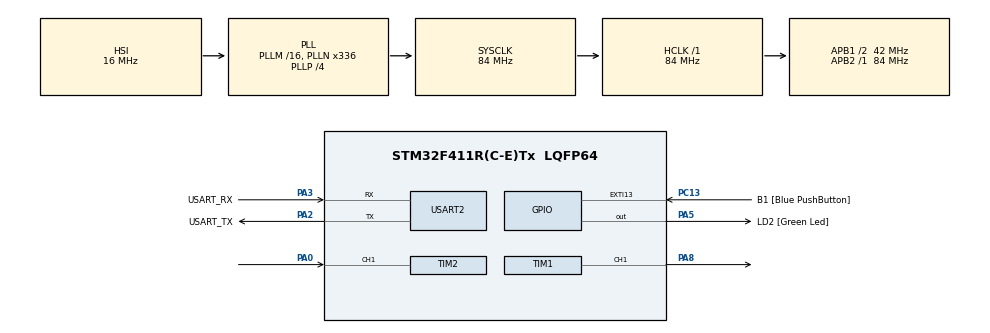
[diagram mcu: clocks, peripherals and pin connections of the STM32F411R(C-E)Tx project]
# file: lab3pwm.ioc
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Dma.Request0=TIM2_CH1
Dma.TIM2_CH1.0.Direction=DMA_PERIPH_TO_MEMORY
Dma.TIM2_CH1.0.FIFOMode=DMA_FIFOMODE_DISABLE
Dma.TIM2_CH1.0.Instance=DMA1_Stream5
Dma.TIM2_CH1.0.MemDataAlignment=DMA_MDATAALIGN_WORD
Dma.TIM2_CH1.0.MemInc=DMA_MINC_ENABLE
Dma.TIM2_CH1.0.Mode=DMA_CIRCULAR
Dma.TIM2_CH1.0.PeriphDataAlignment=DMA_PDATAALIGN_WORD
Dma.TIM2_CH1.0.PeriphInc=DMA_PINC_DISABLE
Dma.TIM2_CH1.0.Priority=DMA_PRIORITY_LOW
Mcu.Family=STM32F4
Mcu.Name=STM32F411R(C-E)Tx
Mcu.Package=LQFP64
NVIC.DMA1_Stream5_IRQn=true\:0\:0\:false\:false\:true\:false\:true\:true
NVIC.PriorityGroup=NVIC_PRIORITYGROUP_0
PA0-WKUP.Signal=S_TIM2_CH1_ETR
PA13.GPIO_Label=TMS
PA13.Mode=Serial_Wire
PA13.Signal=SYS_JTMS-SWDIO
PA14.GPIO_Label=TCK
PA14.Mode=Serial_Wire
PA14.Signal=SYS_JTCK-SWCLK
PA2.GPIO_Label=USART_TX
PA2.Mode=Asynchronous
PA2.Signal=USART2_TX
PA3.GPIO_Label=USART_RX
PA3.Mode=Asynchronous
PA3.Signal=USART2_RX
PA5.GPIO_Label=LD2 [Green Led]
PA5.Signal=GPIO_Output
PA8.Signal=S_TIM1_CH1
PB3.GPIO_Label=SWO
PB3.Signal=SYS_JTDO-SWO
PC13-ANTI_TAMP.GPIO_Label=B1 [Blue PushButton]
PC13-ANTI_TAMP.GPIO_ModeDefaultEXTI=GPIO_MODE_IT_FALLING
PC13-ANTI_TAMP.Signal=GPXTI13
PC14-OSC32_IN.Mode=LSE-External-Oscillator
PC14-OSC32_IN.Signal=RCC_OSC32_IN
PC15-OSC32_OUT.Mode=LSE-External-Oscillator
PC15-OSC32_OUT.Signal=RCC_OSC32_OUT
PH0\ -\ OSC_IN.Mode=HSE-External-Clock-Source
PH0\ -\ OSC_IN.Signal=RCC_OSC_IN
PH1\ -\ OSC_OUT.Mode=HSE-External-Clock-Source
PH1\ -\ OSC_OUT.Signal=RCC_OSC_OUT
ProjectManager.HeapSize=0x200
ProjectManager.StackSize=0x400
ProjectManager.TargetToolchain=STM32CubeIDE
RCC.48MHZClocksFreq_Value=84000000
RCC.AHBFreq_Value=84000000
RCC.APB1CLKDivider=RCC_HCLK_DIV2
RCC.APB1Freq_Value=42000000
RCC.APB1TimFreq_Value=84000000
RCC.APB2Freq_Value=84000000
RCC.APB2TimFreq_Value=84000000
RCC.CortexFreq_Value=84000000
RCC.FLatency-AdvancedSettings=FLASH_LATENCY_2
RCC.HCLKFreq_Value=84000000
RCC.HSE_VALUE=8000000
RCC.HSI_VALUE=16000000
RCC.PLLN=336
RCC.PLLP=RCC_PLLP_DIV4
RCC.SYSCLKFreq_VALUE=84000000
RCC.SYSCLKSource=RCC_SYSCLKSOURCE_PLLCLK
RCC.VCOOutputFreq_Value=336000000
SH.S_TIM1_CH1.0=TIM1_CH1,PWM Generation1 CH1
SH.S_TIM2_CH1_ETR.0=TIM2_CH1,Input_Capture1_from_TI1
TIM1.Channel-PWM\ Generation1\ CH1=TIM_CHANNEL_1
TIM1.Period=1000
TIM1.Prescaler=83
TIM1.Pulse-PWM\ Generation1\ CH1=500
TIM2.Channel-Input_Capture1_from_TI1=TIM_CHANNEL_1
TIM2.Prescaler=83
USART2.VirtualMode=VM_ASYNC
VP_TIM1_VS_ClockSourceINT.Mode=Internal
VP_TIM2_VS_ClockSourceINT.Mode=Internal
board=NUCLEO-F411RE

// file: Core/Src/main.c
/* USER CODE BEGIN Header */
/**
  ******************************************************************************
  * @file           : main.c
  * @brief          : Main program body
  ******************************************************************************
  * @attention
  *
  * Copyright (c) 2023 STMicroelectronics.
  * All rights reserved.
  *
  * This software is licensed under terms that can be found in the LICENSE file
  * in the root directory of this software component.
  * If no LICENSE file comes with this software, it is provided AS-IS.
  *
  ******************************************************************************
  */
/* USER CODE END Header */
#include "main.h"

/* USER CODE BEGIN Includes */
#define IC_BUFFER_SIZE 20
/* USER CODE END Includes */

TIM_HandleTypeDef htim1;
TIM_HandleTypeDef htim2;
DMA_HandleTypeDef hdma_tim2_ch1;

UART_HandleTypeDef huart2;

/* USER CODE BEGIN PV */
uint32_t InputCaptureBuffer[IC_BUFFER_SIZE];
float averageRisingedgePeriod ;
uint32_t duty ;
uint32_t MotorSetDuty ;
uint32_t MotorReadRPM ;
uint32_t MotorSetRPM ;
uint32_t MotorControlEnable ;
/* USER CODE END PV */

void SystemClock_Config(void);
static void MX_GPIO_Init(void);
static void MX_DMA_Init(void);
static void MX_USART2_UART_Init(void);
static void MX_TIM2_Init(void);
static void MX_TIM1_Init(void);
/* USER CODE BEGIN PFP */
float IC_Calc_Period();
/* USER CODE END PFP */

int main(void)
{

  /* MCU Configuration--------------------------------------------------------*/

  /* Reset of all peripherals, Initializes the Flash interface and the Systick. */
  HAL_Init();

  /* Configure the system clock */
  SystemClock_Config();

  /* Initialize all configured peripherals */
  MX_GPIO_Init();
  MX_DMA_Init();
  MX_USART2_UART_Init();
  MX_TIM2_Init();
  MX_TIM1_Init();
  /* USER CODE BEGIN 2 */
HAL_TIM_Base_Start(&htim2);
HAL_TIM_IC_Start_DMA(&htim2,TIM_CHANNEL_1,InputCaptureBuffer,IC_BUFFER_SIZE);

HAL_TIM_Base_Start(&htim1);
HAL_TIM_PWM_Start(&htim1,TIM_CHANNEL_1);
  /* USER CODE END 2 */

  /* Infinite loop */
  while (1)
  {

    /* USER CODE BEGIN 3 */

	  static uint32_t timestamp = 0;
	  if(HAL_GetTick()>= timestamp )
	  {

		  averageRisingedgePeriod = IC_Calc_Period();
		  if(MotorControlEnable == 0)
		  {
		      duty = MotorSetDuty ;
		  }
		  __HAL_TIM_SET_COMPARE(&htim1,TIM_CHANNEL_1,duty*10);
          MotorReadRPM = 60 / (12*64*0.000001*averageRisingedgePeriod);
          timestamp =HAL_GetTick()+500;
  if(MotorControlEnable == 1)
  {
	  if(MotorSetRPM == 0)
	  {
		  duty = 0 ;
		  __HAL_TIM_SET_COMPARE(&htim1,TIM_CHANNEL_1,duty*10);
	  }
	  else if(MotorSetRPM > MotorReadRPM)
	  {
		  duty+=5 ;
		  __HAL_TIM_SET_COMPARE(&htim1,TIM_CHANNEL_1,duty*10);
		  if(duty > 100)
		  {
			  duty = 100 ;
			  __HAL_TIM_SET_COMPARE(&htim1,TIM_CHANNEL_1,duty*10);
		  }

	  }
	  else if(MotorSetRPM < MotorReadRPM)
	  {
		  duty-=5;
		  __HAL_TIM_SET_COMPARE(&htim1,TIM_CHANNEL_1,duty*10);
		  if(duty < 5)
		  {
			  duty = 5;
			  __HAL_TIM_SET_COMPARE(&htim1,TIM_CHANNEL_1,duty*10);
		  }

	  }
  }
	  }
  }
  /* USER CODE END 3 */
}

void SystemClock_Config(void)
{
  RCC_OscInitTypeDef RCC_OscInitStruct = {0};
  RCC_ClkInitTypeDef RCC_ClkInitStruct = {0};

  /** Configure the main internal regulator output voltage
  */
  __HAL_RCC_PWR_CLK_ENABLE();
  __HAL_PWR_VOLTAGESCALING_CONFIG(PWR_REGULATOR_VOLTAGE_SCALE1);

  /** Initializes the RCC Oscillators according to the specified parameters
  * in the RCC_OscInitTypeDef structure.
  */
  RCC_OscInitStruct.OscillatorType = RCC_OSCILLATORTYPE_HSI;
  RCC_OscInitStruct.HSIState = RCC_HSI_ON;
  RCC_OscInitStruct.HSICalibrationValue = RCC_HSICALIBRATION_DEFAULT;
  RCC_OscInitStruct.PLL.PLLState = RCC_PLL_ON;
  RCC_OscInitStruct.PLL.PLLSource = RCC_PLLSOURCE_HSI;
  RCC_OscInitStruct.PLL.PLLM = 16;
  RCC_OscInitStruct.PLL.PLLN = 336;
  RCC_OscInitStruct.PLL.PLLP = RCC_PLLP_DIV4;
  RCC_OscInitStruct.PLL.PLLQ = 4;
  if (HAL_RCC_OscConfig(&RCC_OscInitStruct) != HAL_OK)
  {
    Error_Handler();
  }

  /** Initializes the CPU, AHB and APB buses clocks
  */
  RCC_ClkInitStruct.ClockType = RCC_CLOCKTYPE_HCLK|RCC_CLOCKTYPE_SYSCLK
                              |RCC_CLOCKTYPE_PCLK1|RCC_CLOCKTYPE_PCLK2;
  RCC_ClkInitStruct.SYSCLKSource = RCC_SYSCLKSOURCE_PLLCLK;
  RCC_ClkInitStruct.AHBCLKDivider = RCC_SYSCLK_DIV1;
  RCC_ClkInitStruct.APB1CLKDivider = RCC_HCLK_DIV2;
  RCC_ClkInitStruct.APB2CLKDivider = RCC_HCLK_DIV1;

  if (HAL_RCC_ClockConfig(&RCC_ClkInitStruct, FLASH_LATENCY_2) != HAL_OK)
  {
    Error_Handler();
  }
}

static void MX_TIM1_Init(void)
{

  TIM_ClockConfigTypeDef sClockSourceConfig = {0};
  TIM_MasterConfigTypeDef sMasterConfig = {0};
  TIM_OC_InitTypeDef sConfigOC = {0};
  TIM_BreakDeadTimeConfigTypeDef sBreakDeadTimeConfig = {0};

  htim1.Instance = TIM1;
  htim1.Init.Prescaler = 83;
  htim1.Init.CounterMode = TIM_COUNTERMODE_UP;
  htim1.Init.Period = 1000;
  htim1.Init.ClockDivision = TIM_CLOCKDIVISION_DIV1;
  htim1.Init.RepetitionCounter = 0;
  htim1.Init.AutoReloadPreload = TIM_AUTORELOAD_PRELOAD_DISABLE;
  if (HAL_TIM_Base_Init(&htim1) != HAL_OK)
  {
    Error_Handler();
  }
  sClockSourceConfig.ClockSource = TIM_CLOCKSOURCE_INTERNAL;
  if (HAL_TIM_ConfigClockSource(&htim1, &sClockSourceConfig) != HAL_OK)
  {
    Error_Handler();
  }
  if (HAL_TIM_PWM_Init(&htim1) != HAL_OK)
  {
    Error_Handler();
  }
  sMasterConfig.MasterOutputTrigger = TIM_TRGO_RESET;
  sMasterConfig.MasterSlaveMode = TIM_MASTERSLAVEMODE_DISABLE;
  if (HAL_TIMEx_MasterConfigSynchronization(&htim1, &sMasterConfig) != HAL_OK)
  {
    Error_Handler();
  }
  sConfigOC.OCMode = TIM_OCMODE_PWM1;
  sConfigOC.Pulse = 500;
  sConfigOC.OCPolarity = TIM_OCPOLARITY_HIGH;
  sConfigOC.OCNPolarity = TIM_OCNPOLARITY_HIGH;
  sConfigOC.OCFastMode = TIM_OCFAST_DISABLE;
  sConfigOC.OCIdleState = TIM_OCIDLESTATE_RESET;
  sConfigOC.OCNIdleState = TIM_OCNIDLESTATE_RESET;
  if (HAL_TIM_PWM_ConfigChannel(&htim1, &sConfigOC, TIM_CHANNEL_1) != HAL_OK)
  {
    Error_Handler();
  }
  sBreakDeadTimeConfig.OffStateRunMode = TIM_OSSR_DISABLE;
  sBreakDeadTimeConfig.OffStateIDLEMode = TIM_OSSI_DISABLE;
  sBreakDeadTimeConfig.LockLevel = TIM_LOCKLEVEL_OFF;
  sBreakDeadTimeConfig.DeadTime = 0;
  sBreakDeadTimeConfig.BreakState = TIM_BREAK_DISABLE;
  sBreakDeadTimeConfig.BreakPolarity = TIM_BREAKPOLARITY_HIGH;
  sBreakDeadTimeConfig.AutomaticOutput = TIM_AUTOMATICOUTPUT_DISABLE;
  if (HAL_TIMEx_ConfigBreakDeadTime(&htim1, &sBreakDeadTimeConfig) != HAL_OK)
  {
    Error_Handler();
  }
  HAL_TIM_MspPostInit(&htim1);

}

static void MX_TIM2_Init(void)
{

  TIM_ClockConfigTypeDef sClockSourceConfig = {0};
  TIM_MasterConfigTypeDef sMasterConfig = {0};
  TIM_IC_InitTypeDef sConfigIC = {0};

  htim2.Instance = TIM2;
  htim2.Init.Prescaler = 83;
  htim2.Init.CounterMode = TIM_COUNTERMODE_UP;
  htim2.Init.Period = 4294967295;
  htim2.Init.ClockDivision = TIM_CLOCKDIVISION_DIV1;
  htim2.Init.AutoReloadPreload = TIM_AUTORELOAD_PRELOAD_DISABLE;
  if (HAL_TIM_Base_Init(&htim2) != HAL_OK)
  {
    Error_Handler();
  }
  sClockSourceConfig.ClockSource = TIM_CLOCKSOURCE_INTERNAL;
  if (HAL_TIM_ConfigClockSource(&htim2, &sClockSourceConfig) != HAL_OK)
  {
    Error_Handler();
  }
  if (HAL_TIM_IC_Init(&htim2) != HAL_OK)
  {
    Error_Handler();
  }
  sMasterConfig.MasterOutputTrigger = TIM_TRGO_RESET;
  sMasterConfig.MasterSlaveMode = TIM_MASTERSLAVEMODE_DISABLE;
  if (HAL_TIMEx_MasterConfigSynchronization(&htim2, &sMasterConfig) != HAL_OK)
  {
    Error_Handler();
  }
  sConfigIC.ICPolarity = TIM_INPUTCHANNELPOLARITY_RISING;
  sConfigIC.ICSelection = TIM_ICSELECTION_DIRECTTI;
  sConfigIC.ICPrescaler = TIM_ICPSC_DIV1;
  sConfigIC.ICFilter = 0;
  if (HAL_TIM_IC_ConfigChannel(&htim2, &sConfigIC, TIM_CHANNEL_1) != HAL_OK)
  {
    Error_Handler();
  }

}

static void MX_USART2_UART_Init(void)
{

  huart2.Instance = USART2;
  huart2.Init.BaudRate = 115200;
  huart2.Init.WordLength = UART_WORDLENGTH_8B;
  huart2.Init.StopBits = UART_STOPBITS_1;
  huart2.Init.Parity = UART_PARITY_NONE;
  huart2.Init.Mode = UART_MODE_TX_RX;
  huart2.Init.HwFlowCtl = UART_HWCONTROL_NONE;
  huart2.Init.OverSampling = UART_OVERSAMPLING_16;
  if (HAL_UART_Init(&huart2) != HAL_OK)
  {
    Error_Handler();
  }

}

static void MX_DMA_Init(void)
{

  /* DMA controller clock enable */
  __HAL_RCC_DMA1_CLK_ENABLE();

  /* DMA interrupt init */
  /* DMA1_Stream5_IRQn interrupt configuration */
  HAL_NVIC_SetPriority(DMA1_Stream5_IRQn, 0, 0);
  HAL_NVIC_EnableIRQ(DMA1_Stream5_IRQn);

}

static void MX_GPIO_Init(void)
{
  GPIO_InitTypeDef GPIO_InitStruct = {0};

  /* GPIO Ports Clock Enable */
  __HAL_RCC_GPIOC_CLK_ENABLE();
  __HAL_RCC_GPIOH_CLK_ENABLE();
  __HAL_RCC_GPIOA_CLK_ENABLE();
  __HAL_RCC_GPIOB_CLK_ENABLE();

  /*Configure GPIO pin Output Level */
  HAL_GPIO_WritePin(LD2_GPIO_Port, LD2_Pin, GPIO_PIN_RESET);

  /*Configure GPIO pin : B1_Pin */
  GPIO_InitStruct.Pin = B1_Pin;
  GPIO_InitStruct.Mode = GPIO_MODE_IT_FALLING;
  GPIO_InitStruct.Pull = GPIO_NOPULL;
  HAL_GPIO_Init(B1_GPIO_Port, &GPIO_InitStruct);

  /*Configure GPIO pin : LD2_Pin */
  GPIO_InitStruct.Pin = LD2_Pin;
  GPIO_InitStruct.Mode = GPIO_MODE_OUTPUT_PP;
  GPIO_InitStruct.Pull = GPIO_NOPULL;
  GPIO_InitStruct.Speed = GPIO_SPEED_FREQ_LOW;
  HAL_GPIO_Init(LD2_GPIO_Port, &GPIO_InitStruct);

}

/* USER CODE BEGIN 4 */
float IC_Calc_Period()
{
	uint32_t currentDMAPointer = IC_BUFFER_SIZE - __HAL_DMA_GET_COUNTER((htim2.hdma[1]));
	uint32_t lastValidDMAPointer = (currentDMAPointer-1 + IC_BUFFER_SIZE)%IC_BUFFER_SIZE ;
	uint32_t i = (lastValidDMAPointer + IC_BUFFER_SIZE - 4) % IC_BUFFER_SIZE ;
	int32_t sumdiff = 0 ;
	while (i != lastValidDMAPointer)
	{
		uint32_t firstCapture = InputCaptureBuffer[i];
		uint32_t NextCapture = InputCaptureBuffer[(i+1)%IC_BUFFER_SIZE];
		sumdiff += NextCapture - firstCapture ;
		i = (i+1) % IC_BUFFER_SIZE ;
	}
	averageRisingedgePeriod = sumdiff / 5.0 ;
	return averageRisingedgePeriod ;
}
/* USER CODE END 4 */

void Error_Handler(void)
{
  __disable_irq();
  while (1)
  {
  }
}
